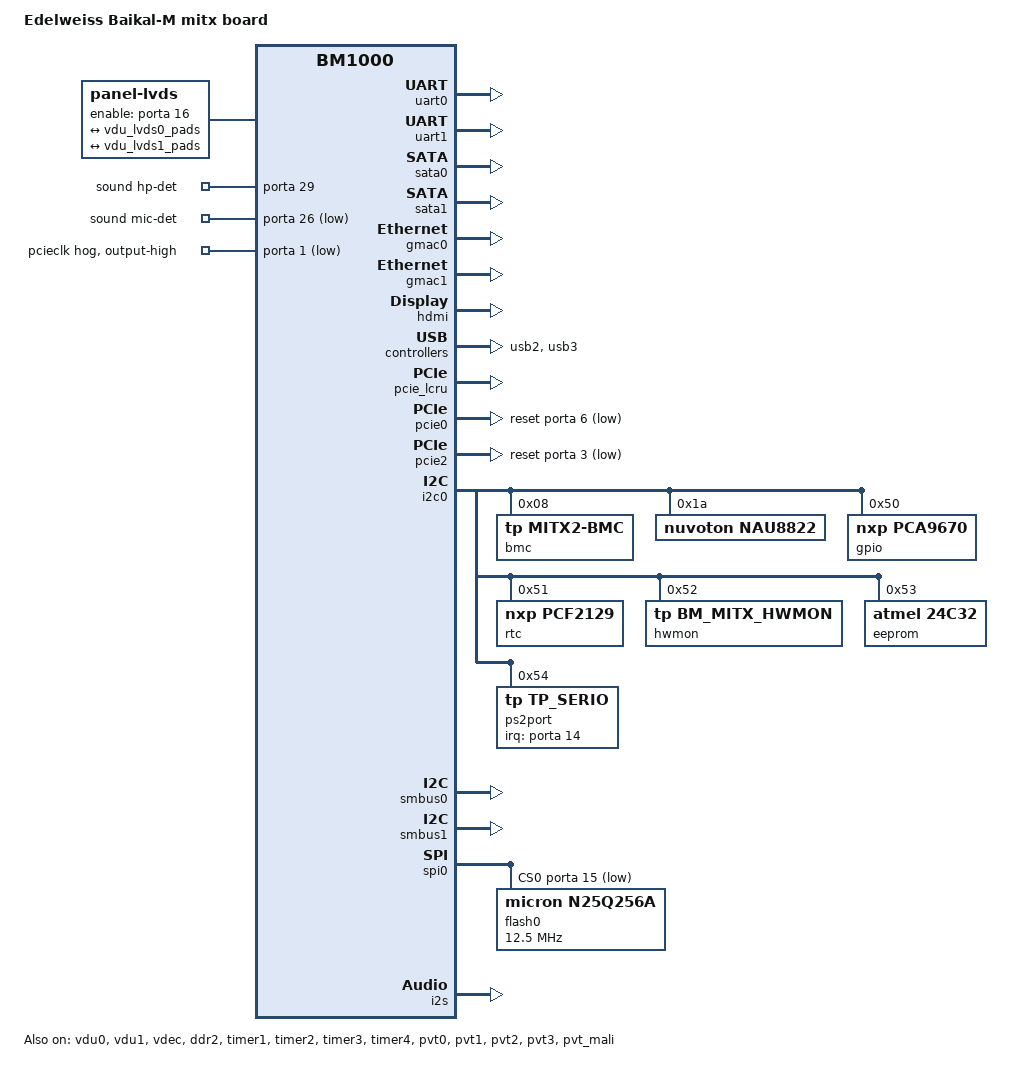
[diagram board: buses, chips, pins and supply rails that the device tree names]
// SPDX-License-Identifier: GPL-2.0
/*
 * Baikal-M Mini-ITX board device tree (test version)
 *
 */

/dts-v1/;

#include "bm1000.dtsi"

/ {

	model = "Edelweiss Baikal-M mitx board";
	compatible = "baikal,baikal-m";
	#address-cells = <2>;
	#size-cells = <2>;

	chosen { };

	panel {
		compatible = "panel-lvds";
		width-mm = <223>;
		height-mm = <125>;
		data-mapping = "vesa-24";
		enable-gpios = <&porta 16 GPIO_ACTIVE_HIGH>;
		panel-timing {
		// 1920x1080 @60Hz
			clock-frequency = <148500000>;
			hactive = <1920>;
			vactive = <1080>;
			hsync-len = <44>;
			hfront-porch = <88>;
			hback-porch = <148>;
			vsync-len = <5>;
			vfront-porch = <4>;
			vback-porch = <36>;
		};
		port {
			panel0_lvds0: endpoint@0 {
				remote-endpoint = <&vdu_lvds0_pads>;
			};
			panel0_lvds1: endpoint@1 {
				remote-endpoint = <&vdu_lvds1_pads>;
			};
		};
	};

	sound {
		compatible = "simple-audio-card";
		simple-audio-card,name = "MITX-Sound-Card";
		simple-audio-card,bitclock-master = <&codec0>;
		simple-audio-card,frame-master = <&codec0>;
		simple-audio-card,widgets =
			"Microphone", "Mic Jack",
			"Headphone", "Headphones",
			"Speaker", "AUX Out",
			"Line", "Line In";
		simple-audio-card,routing =
			"Headphones", "RHP",
			"Headphones", "LHP",
			"AUX Out", "AUXOUT1",
			"AUX Out", "AUXOUT2",
			"L2", "Mic Jack",
			"R2", "Mic Jack",
			"LAUX", "Line In",
			"RAUX", "Line In";

		simple-audio-card,hp-det-gpio = <&porta 29 GPIO_ACTIVE_HIGH>;
		simple-audio-card,mic-det-gpio = <&porta 26 GPIO_ACTIVE_LOW>;
		simple-audio-card,format = "i2s";

		simple-audio-card,cpu {
			sound-dai = <&i2s>;
		};
		codec0: simple-audio-card,codec {
			sound-dai = <&nau8822 0>;
		};
	};
};

&uart0 {
	status = "okay";
};

&uart1 {
	status = "okay";
};

&sata0 {
	status = "okay";
};

&sata1 {
	status = "okay";
};

&gmac0 {
	status = "okay";
	snps,reset-gpios = <&porta 19 GPIO_ACTIVE_LOW>;
};

&gmac1 {
	status = "okay";
	snps,reset-gpios = <&porta 20 GPIO_ACTIVE_LOW>;
};

&vdu0 {
	status = "okay";
	num-lanes = <2>;
	port {
		vdu_lvds0_pads: endpoint@0 {
			remote-endpoint = <&panel0_lvds0>;
		};
		vdu_lvds1_pads: endpoint@1 {
			remote-endpoint = <&panel0_lvds1>;
		};
	};
};

&hdmi {
	status = "okay";
};

&vdu1 {
	status = "okay";
};

&vdec {
	status = "okay";
};

&gpio {
	status = "okay";
};

&ddr2 {
	status = "okay";
};

&gpu {
	system-coherency = <0>;
};

&usb2 {
	status = "okay";
};

&usb3 {
	status = "okay";
};

&mmc0 {
//	status = "okay";
};

&pcie_lcru {
	status = "okay";
};

&pcie0 {
	status = "okay";
	reset-gpios = <&porta 6 GPIO_ACTIVE_LOW>;
};

&pcie2 {
	status = "okay";
	reset-gpios = <&porta 3 GPIO_ACTIVE_LOW>;
};

&timer1 {
	status = "okay";
};

&timer2 {
	status = "okay";
};

&timer3 {
	status = "okay";
};

&timer4 {
	status = "okay";
};

&pvt0 {
	status = "okay";
};

&pvt1 {
	status = "okay";
};

&pvt2 {
	status = "okay";
};

&pvt3 {
	status = "okay";
};

&pvt_mali {
	status = "okay";
};

&i2c0 {
	status = "okay";

	bmc@8 {
		compatible = "tp,mitx2-bmc", "t-platforms,mitx2-bmc";
		reg = <0x08>;
	};

	nau8822: nau8822@1a {
		compatible = "nuvoton,nau8822";
		#sound-dai-cells = <1>;
		reg = <0x1a>;
	};

	gpio@50 {
		compatible = "nxp,pca9670";
		#gpio-cells = <2>;
		gpio-controller;
		reg = <0x50>;
	};

	rtc@51 {
		compatible = "nxp,pcf2129", "nxp,pcf2127";
		reg = <0x51>;
	};

	hwmon@52 {
		compatible = "tp,bm_mitx_hwmon";
		reg = <0x52>;
	};

	eeprom@53 {
		compatible = "atmel,24c32";
		pagesize = <32>;
		reg = <0x53>;
	};

#if 1
	ps2port@54 {
		compatible = "tp,tp_serio";
		reg = <0x54>;
		interrupt-parent = <&porta>;
		interrupts = <14 8>;
	};
#endif
};

&i2c1 {
	status = "disabled";

#if 0
	stdp_bridge@73 {
		compatible = "megachips,stdp4028-lvds-dp";
		reg = <0x73>;
		channels = <4>;
		chan-cfg = <6>;
		interrupt-parent = <&porta>;
		interrupts = <20 IRQ_TYPE_LEVEL_HIGH>;
		reset-gpios = <&porta 19 GPIO_ACTIVE_HIGH>;

		port {
			stdp_lvds_in: endpoint {
				remote-endpoint = <&vdu_lvds_out>;
			};
		};
	};
#endif
};

&smbus0 {
	status = "okay";
};

&smbus1 {
	status = "okay";
};

&spi0 {
	num-cs = <4>;

	cs-gpios = <&porta 15 GPIO_ACTIVE_LOW>, <0>;
	status = "okay";
	flash0: flash@0 {
		compatible = "micron,n25q256a", "jedec,spi-nor";
		reg = <0>;
		#address-cells = <1>;
		#size-cells = <1>;
		spi-max-frequency = <12500000>;
		status = "okay";

		/* Flash chip0 partitions */
		mtd0@00000000 {
			label = "bl1";
			reg = <0x00000000 0x00040000>;
			read-only;
		};

		mtd1@00040000 {
			label = "fip";
			reg = <0x00040000 0x007c0000>;
		};

		mtd2@00800000 {
			label = "rescue";
			reg = <0x00800000 0x01800000>;
		};
	};
};

&porta {
	pcieclk {
		line_name = "pcie-x8-clock";
		gpio-hog;
		gpios = <1 GPIO_ACTIVE_LOW>;
		output-high;
	};
};

&i2s {
	status = "okay";
	system-clock-frequency = <12000000>;
	#sound-dai-cells = <0>;
};
